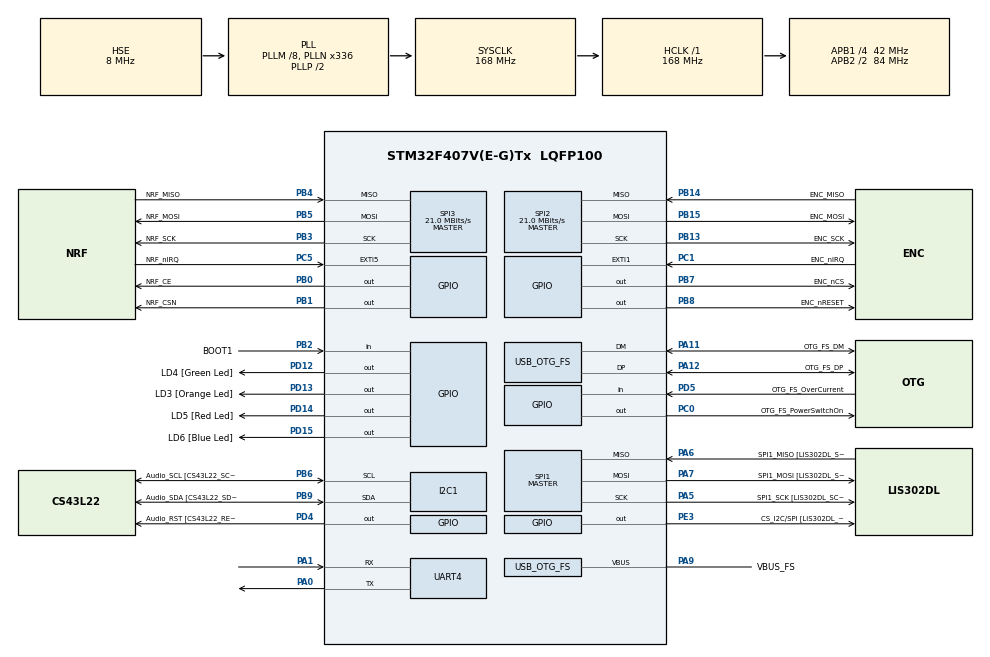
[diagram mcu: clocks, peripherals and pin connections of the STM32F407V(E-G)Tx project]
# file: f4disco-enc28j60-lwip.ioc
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Mcu.Family=STM32F4
Mcu.Name=STM32F407V(E-G)Tx
Mcu.Package=LQFP100
NVIC.EXTI1_IRQn=true\:0\:0\:false\:false\:true\:true
NVIC.OTG_FS_IRQn=true\:0\:0\:false\:false\:true\:true
NVIC.PriorityGroup=NVIC_PRIORITYGROUP_0
PA0-WKUP.Mode=Asynchronous
PA0-WKUP.Signal=UART4_TX
PA1.Mode=Asynchronous
PA1.Signal=UART4_RX
PA10.GPIO_Label=OTG_FS_ID
PA10.GPIO_Mode=GPIO_MODE_AF_PP
PA10.GPIO_PuPd=GPIO_NOPULL
PA10.GPIO_Speed=GPIO_SPEED_FREQ_LOW
PA10.Signal=USB_OTG_FS_ID
PA11.GPIO_Label=OTG_FS_DM
PA11.GPIO_Mode=GPIO_MODE_AF_PP
PA11.GPIO_PuPd=GPIO_NOPULL
PA11.GPIO_Speed=GPIO_SPEED_FREQ_LOW
PA11.Mode=Host_Only
PA11.Signal=USB_OTG_FS_DM
PA12.GPIO_Label=OTG_FS_DP
PA12.GPIO_Mode=GPIO_MODE_AF_PP
PA12.GPIO_PuPd=GPIO_NOPULL
PA12.GPIO_Speed=GPIO_SPEED_FREQ_LOW
PA12.Mode=Host_Only
PA12.Signal=USB_OTG_FS_DP
PA13.GPIO_Label=SWDIO
PA13.Mode=Serial_Wire
PA13.Signal=SYS_JTMS-SWDIO
PA14.GPIO_Label=SWCLK
PA14.Mode=Serial_Wire
PA14.Signal=SYS_JTCK-SWCLK
PA4.GPIO_Label=I2S3_WS [CS43L22_LRCK]
PA4.GPIO_Mode=GPIO_MODE_AF_PP
PA4.GPIO_PuPd=GPIO_NOPULL
PA4.GPIO_Speed=GPIO_SPEED_FREQ_LOW
PA4.Signal=I2S3_WS
PA5.GPIO_Label=SPI1_SCK [LIS302DL_SCL/SPC]
PA5.GPIO_Mode=GPIO_MODE_AF_PP
PA5.GPIO_PuPd=GPIO_NOPULL
PA5.GPIO_Speed=GPIO_SPEED_FREQ_LOW
PA5.Mode=Full_Duplex_Master
PA5.Signal=SPI1_SCK
PA6.GPIO_Label=SPI1_MISO [LIS302DL_SDO]
PA6.GPIO_Mode=GPIO_MODE_AF_PP
PA6.GPIO_PuPd=GPIO_NOPULL
PA6.GPIO_Speed=GPIO_SPEED_FREQ_LOW
PA6.Mode=Full_Duplex_Master
PA6.Signal=SPI1_MISO
PA7.GPIO_Label=SPI1_MOSI [LIS302DL_SDA/SDI/SDO]
PA7.GPIO_Mode=GPIO_MODE_AF_PP
PA7.GPIO_PuPd=GPIO_NOPULL
PA7.GPIO_Speed=GPIO_SPEED_FREQ_LOW
PA7.Mode=Full_Duplex_Master
PA7.Signal=SPI1_MOSI
PA9.GPIO_Label=VBUS_FS
PA9.GPIO_Mode=GPIO_MODE_INPUT
PA9.GPIO_PuPd=GPIO_NOPULL
PA9.Mode=Activate_VBUS
PA9.Signal=USB_OTG_FS_VBUS
PB0.GPIO_Label=NRF_CE
PB0.Signal=GPIO_Output
PB1.GPIO_Label=NRF_CSN
PB1.Signal=GPIO_Output
PB10.GPIO_Label=CLK_IN [MP45DT02_CLK]
PB10.GPIO_Mode=GPIO_MODE_AF_PP
PB10.GPIO_PuPd=GPIO_NOPULL
PB10.GPIO_Speed=GPIO_SPEED_FREQ_LOW
PB10.Signal=I2S2_CK
PB13.GPIO_Label=ENC_SCK
PB13.Mode=Full_Duplex_Master
PB13.Signal=SPI2_SCK
PB14.GPIO_Label=ENC_MISO
PB14.Mode=Full_Duplex_Master
PB14.Signal=SPI2_MISO
PB15.GPIO_Label=ENC_MOSI
PB15.Mode=Full_Duplex_Master
PB15.Signal=SPI2_MOSI
PB2.GPIO_Label=BOOT1
PB2.GPIO_Mode=GPIO_MODE_INPUT
PB2.GPIO_PuPd=GPIO_NOPULL
PB2.Signal=GPIO_Input
PB3.GPIO_Label=NRF_SCK
PB3.Mode=Full_Duplex_Master
PB3.Signal=SPI3_SCK
PB4.GPIO_Label=NRF_MISO
PB4.Mode=Full_Duplex_Master
PB4.Signal=SPI3_MISO
PB5.GPIO_Label=NRF_MOSI
PB5.Mode=Full_Duplex_Master
PB5.Signal=SPI3_MOSI
PB6.GPIO_Label=Audio_SCL [CS43L22_SCL]
PB6.GPIO_Mode=GPIO_MODE_AF_OD
PB6.GPIO_PuPd=GPIO_NOPULL
PB6.GPIO_Speed=GPIO_SPEED_FREQ_LOW
PB6.Mode=I2C
PB6.Signal=I2C1_SCL
PB7.GPIO_Label=ENC_nCS
PB7.Signal=GPIO_Output
PB8.GPIO_Label=ENC_nRESET
PB8.Signal=GPIO_Output
PB9.GPIO_Label=Audio_SDA [CS43L22_SDA]
PB9.GPIO_Mode=GPIO_MODE_AF_OD
PB9.GPIO_PuPd=GPIO_NOPULL
PB9.GPIO_Speed=GPIO_SPEED_FREQ_LOW
PB9.Mode=I2C
PB9.Signal=I2C1_SDA
PC0.GPIO_Label=OTG_FS_PowerSwitchOn
PC0.GPIO_PuPd=GPIO_NOPULL
PC0.GPIO_Speed=GPIO_SPEED_FREQ_LOW
PC0.PinState=GPIO_PIN_SET
PC0.Signal=GPIO_Output
PC1.GPIO_Label=ENC_nIRQ
PC1.GPIO_ModeDefaultEXTI=GPIO_MODE_IT_FALLING
PC1.GPIO_PuPd=GPIO_PULLUP
PC1.Signal=GPXTI1
PC14-OSC32_IN.GPIO_Label=PC14-OSC32_IN
PC14-OSC32_IN.Mode=LSE-External-Oscillator
PC14-OSC32_IN.Signal=RCC_OSC32_IN
PC15-OSC32_OUT.GPIO_Label=PC15-OSC32_OUT
PC15-OSC32_OUT.Mode=LSE-External-Oscillator
PC15-OSC32_OUT.Signal=RCC_OSC32_OUT
PC3.GPIO_Label=PDM_OUT [MP45DT02_DOUT]
PC3.GPIO_Mode=GPIO_MODE_AF_PP
PC3.GPIO_PuPd=GPIO_NOPULL
PC3.GPIO_Speed=GPIO_SPEED_FREQ_LOW
PC3.Signal=I2S2_SD
PC5.GPIO_Label=NRF_nIRQ
PC5.Signal=GPXTI5
PD12.GPIO_Label=LD4 [Green Led]
PD12.GPIO_PuPd=GPIO_NOPULL
PD12.GPIO_Speed=GPIO_SPEED_FREQ_LOW
PD12.Signal=GPIO_Output
PD13.GPIO_Label=LD3 [Orange Led]
PD13.GPIO_PuPd=GPIO_NOPULL
PD13.GPIO_Speed=GPIO_SPEED_FREQ_LOW
PD13.Signal=GPIO_Output
PD14.GPIO_Label=LD5 [Red Led]
PD14.GPIO_PuPd=GPIO_NOPULL
PD14.GPIO_Speed=GPIO_SPEED_FREQ_LOW
PD14.Signal=GPIO_Output
PD15.GPIO_Label=LD6 [Blue Led]
PD15.GPIO_PuPd=GPIO_NOPULL
PD15.GPIO_Speed=GPIO_SPEED_FREQ_LOW
PD15.Signal=GPIO_Output
PD4.GPIO_Label=Audio_RST [CS43L22_RESET]
PD4.GPIO_PuPd=GPIO_NOPULL
PD4.GPIO_Speed=GPIO_SPEED_FREQ_LOW
PD4.Signal=GPIO_Output
PD5.GPIO_Label=OTG_FS_OverCurrent
PD5.GPIO_Mode=GPIO_MODE_INPUT
PD5.GPIO_PuPd=GPIO_NOPULL
PD5.Signal=GPIO_Input
PE3.GPIO_Label=CS_I2C/SPI [LIS302DL_CS_I2C/SPI]
PE3.GPIO_PuPd=GPIO_NOPULL
PE3.GPIO_Speed=GPIO_SPEED_FREQ_LOW
PE3.Signal=GPIO_Output
PH0-OSC_IN.GPIO_Label=PH0-OSC_IN
PH0-OSC_IN.Mode=HSE-External-Oscillator
PH0-OSC_IN.Signal=RCC_OSC_IN
PH1-OSC_OUT.GPIO_Label=PH1-OSC_OUT
PH1-OSC_OUT.Mode=HSE-External-Oscillator
PH1-OSC_OUT.Signal=RCC_OSC_OUT
ProjectManager.HeapSize=0x200
ProjectManager.StackSize=0x400
ProjectManager.TargetToolchain=TrueSTUDIO
RCC.48MHZClocksFreq_Value=48000000
RCC.AHBFreq_Value=168000000
RCC.APB1CLKDivider=RCC_HCLK_DIV4
RCC.APB1Freq_Value=42000000
RCC.APB1TimFreq_Value=84000000
RCC.APB2CLKDivider=RCC_HCLK_DIV2
RCC.APB2Freq_Value=84000000
RCC.APB2TimFreq_Value=168000000
RCC.CortexFreq_Value=168000000
RCC.HCLKFreq_Value=168000000
RCC.HSE_VALUE=8000000
RCC.HSI_VALUE=16000000
RCC.PLLM=8
RCC.PLLN=336
RCC.PLLQ=7
RCC.SYSCLKFreq_VALUE=168000000
RCC.SYSCLKSource=RCC_SYSCLKSOURCE_PLLCLK
RCC.VCOOutputFreq_Value=336000000
SPI1.BaudRatePrescaler-Full_Duplex_Master=SPI_BAUDRATEPRESCALER_2
SPI1.CalculateBaudRate-Full_Duplex_Master=42.0 MBits/s
SPI1.Direction=SPI_DIRECTION_2LINES
SPI1.Mode=SPI_MODE_MASTER
SPI1.Mode-Full_Duplex_Master=SPI_MODE_MASTER
SPI1.VirtualType=VM_MASTER
SPI2.CalculateBaudRate=21.0 MBits/s
SPI2.Direction=SPI_DIRECTION_2LINES
SPI2.Mode=SPI_MODE_MASTER
SPI2.VirtualType=VM_MASTER
SPI3.CalculateBaudRate=21.0 MBits/s
SPI3.Direction=SPI_DIRECTION_2LINES
SPI3.Mode=SPI_MODE_MASTER
SPI3.VirtualType=VM_MASTER
UART4.VirtualMode=Asynchronous
USB_HOST.BSP.number=1
USB_HOST.USBH_HandleTypeDef-CDC_FS=hUsbHostFS
USB_HOST.VirtualModeFS=Cdc
USB_HOST0.BSP.STBoard=false
USB_HOST0.BSP.api=Unknown
USB_HOST0.BSP.i2caddr=0
USB_HOST0.BSP.i2creg=0
USB_HOST0.BSP.instance=PC0
USB_HOST0.BSP.ip=GPIO
USB_HOST0.BSP.mode=Output
USB_HOST0.BSP.name=Drive_VBUS_FS
USB_HOST0.BSP.solution=PC0
USB_OTG_FS.VirtualMode=Host_Only
USB_OTG_FS.phy_itface=HCD_PHY_EMBEDDED
VP_USB_HOST_VS_USB_HOST_CDC_FS.Mode=CDC_FS
board=STM32F4DISCOVERY

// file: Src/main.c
/**
  ******************************************************************************
  * @file           : main.c
  * @brief          : Main program body
  ******************************************************************************
  * This notice applies to any and all portions of this file
  * that are not between comment pairs USER CODE BEGIN and
  * USER CODE END. Other portions of this file, whether
  * inserted by the user or by software development tools
  * are owned by their respective copyright owners.
  *
  * Copyright (c) 2018 STMicroelectronics International N.V.
  * All rights reserved.
  *
  * Redistribution and use in source and binary forms, with or without
  * modification, are permitted, provided that the following conditions are met:
  *
  * 1. Redistribution of source code must retain the above copyright notice,
  *    this list of conditions and the following disclaimer.
  * 2. Redistributions in binary form must reproduce the above copyright notice,
  *    this list of conditions and the following disclaimer in the documentation
  *    and/or other materials provided with the distribution.
  * 3. Neither the name of STMicroelectronics nor the names of other
  *    contributors to this software may be used to endorse or promote products
  *    derived from this software without specific written permission.
  * 4. This software, including modifications and/or derivative works of this
  *    software, must execute solely and exclusively on microcontroller or
  *    microprocessor devices manufactured by or for STMicroelectronics.
  * 5. Redistribution and use of this software other than as permitted under
  *    this license is void and will automatically terminate your rights under
  *    this license.
  *
  * THIS SOFTWARE IS PROVIDED BY STMICROELECTRONICS AND CONTRIBUTORS "AS IS"
  * AND ANY EXPRESS, IMPLIED OR STATUTORY WARRANTIES, INCLUDING, BUT NOT
  * LIMITED TO, THE IMPLIED WARRANTIES OF MERCHANTABILITY, FITNESS FOR A
  * PARTICULAR PURPOSE AND NON-INFRINGEMENT OF THIRD PARTY INTELLECTUAL PROPERTY
  * RIGHTS ARE DISCLAIMED TO THE FULLEST EXTENT PERMITTED BY LAW. IN NO EVENT
  * SHALL STMICROELECTRONICS OR CONTRIBUTORS BE LIABLE FOR ANY DIRECT, INDIRECT,
  * INCIDENTAL, SPECIAL, EXEMPLARY, OR CONSEQUENTIAL DAMAGES (INCLUDING, BUT NOT
  * LIMITED TO, PROCUREMENT OF SUBSTITUTE GOODS OR SERVICES; LOSS OF USE, DATA,
  * OR PROFITS; OR BUSINESS INTERRUPTION) HOWEVER CAUSED AND ON ANY THEORY OF
  * LIABILITY, WHETHER IN CONTRACT, STRICT LIABILITY, OR TORT (INCLUDING
  * NEGLIGENCE OR OTHERWISE) ARISING IN ANY WAY OUT OF THE USE OF THIS SOFTWARE,
  * EVEN IF ADVISED OF THE POSSIBILITY OF SUCH DAMAGE.
  *
  ******************************************************************************
  */
#include "main.h"
#include "stm32f4xx_hal.h"
#include "usb_host.h"

/* USER CODE BEGIN Includes */

#include "lwipopts.h"
#include "lwip.h"
#include "lwip/init.h"
#include "lwip/netif.h"
#include "lwip/ip_addr.h"
#include "ethernetif.h"

/* USER CODE END Includes */

I2C_HandleTypeDef hi2c1;

SPI_HandleTypeDef hspi1;
SPI_HandleTypeDef hspi2;
SPI_HandleTypeDef hspi3;

UART_HandleTypeDef huart4;

/* USER CODE BEGIN PV */
/* Private variables ---------------------------------------------------------*/

struct netif gnetif;

/* USER CODE END PV */

void SystemClock_Config(void);
static void MX_GPIO_Init(void);
static void MX_I2C1_Init(void);
static void MX_SPI1_Init(void);
static void MX_SPI2_Init(void);
static void MX_SPI3_Init(void);
static void MX_UART4_Init(void);
void MX_USB_HOST_Process(void);

/* USER CODE BEGIN PFP */
/* Private function prototypes -----------------------------------------------*/

/* USER CODE END PFP */

/* USER CODE BEGIN 0 */

void netif_config()
{
	struct ip4_addr ipaddr;
	struct ip4_addr netmask;
	struct ip4_addr gw;

	IP4_ADDR(&ipaddr, 192, 168, 0, 50);
	IP4_ADDR(&netmask, 255, 255, 255, 252);
	IP4_ADDR(&gw, 192, 168, 1, 1);

	/* add the network interface */
	netif_add(&gnetif, &ipaddr, &netmask, &gw, NULL, &ethernetif_init, &ethernet_input);

	/*  Registers the default network interface */
	netif_set_default(&gnetif);

	if (netif_is_link_up(&gnetif))
	{
	/* When the netif is fully configured this function must be called */
	netif_set_up(&gnetif);
	}
	else
	{
	/* When the netif link is down this function must be called */
	netif_set_down(&gnetif);
	}

	/* Set the link callback function, this function is called on change of link status*/
//	netif_set_link_callback(&gnetif, ethernetif_update_config);
}

extern void ethernetif_set_link(struct netif *netif);

void HAL_GPIO_EXTI_Callback(uint16_t GPIO_Pin)
{
//  /* Get the IT status register value */
//  if(BSP_IO_ITGetStatus(MII_INT_PIN))
  if (GPIO_Pin == GPIO_PIN_1)
  {
    ethernetif_set_link(&gnetif);
  }
  //BSP_IO_ITClear();
}

/* USER CODE END 0 */

int main(void)
{

  /* MCU Configuration----------------------------------------------------------*/

  /* Reset of all peripherals, Initializes the Flash interface and the Systick. */
  HAL_Init();

  /* Configure the system clock */
  SystemClock_Config();

  /* Initialize all configured peripherals */
  MX_GPIO_Init();
  MX_I2C1_Init();
  MX_SPI1_Init();
  MX_USB_HOST_Init();
  MX_SPI2_Init();
  MX_SPI3_Init();
  MX_UART4_Init();
  /* USER CODE BEGIN 2 */

  MX_LWIP_Init();

//  lwip_init();
//  netif_config();

//  HAL_UART_Transmit(&huart4, (uint8_t*)"Hello, World!\r\n", 16, 1000);
  printf("Initialized\r\n");

  /* USER CODE END 2 */

  /* Infinite loop */
  /* USER CODE BEGIN WHILE */
  while (1)
  {
	  MX_LWIP_Process();

  /* USER CODE END WHILE */
    MX_USB_HOST_Process();

  }

}

void SystemClock_Config(void)
{

  RCC_OscInitTypeDef RCC_OscInitStruct;
  RCC_ClkInitTypeDef RCC_ClkInitStruct;

    /**Configure the main internal regulator output voltage
    */
  __HAL_RCC_PWR_CLK_ENABLE();

  __HAL_PWR_VOLTAGESCALING_CONFIG(PWR_REGULATOR_VOLTAGE_SCALE1);

    /**Initializes the CPU, AHB and APB busses clocks
    */
  RCC_OscInitStruct.OscillatorType = RCC_OSCILLATORTYPE_HSE;
  RCC_OscInitStruct.HSEState = RCC_HSE_ON;
  RCC_OscInitStruct.PLL.PLLState = RCC_PLL_ON;
  RCC_OscInitStruct.PLL.PLLSource = RCC_PLLSOURCE_HSE;
  RCC_OscInitStruct.PLL.PLLM = 8;
  RCC_OscInitStruct.PLL.PLLN = 336;
  RCC_OscInitStruct.PLL.PLLP = RCC_PLLP_DIV2;
  RCC_OscInitStruct.PLL.PLLQ = 7;
  if (HAL_RCC_OscConfig(&RCC_OscInitStruct) != HAL_OK)
  {
    _Error_Handler(__FILE__, __LINE__);
  }

    /**Initializes the CPU, AHB and APB busses clocks
    */
  RCC_ClkInitStruct.ClockType = RCC_CLOCKTYPE_HCLK|RCC_CLOCKTYPE_SYSCLK
                              |RCC_CLOCKTYPE_PCLK1|RCC_CLOCKTYPE_PCLK2;
  RCC_ClkInitStruct.SYSCLKSource = RCC_SYSCLKSOURCE_PLLCLK;
  RCC_ClkInitStruct.AHBCLKDivider = RCC_SYSCLK_DIV1;
  RCC_ClkInitStruct.APB1CLKDivider = RCC_HCLK_DIV4;
  RCC_ClkInitStruct.APB2CLKDivider = RCC_HCLK_DIV2;

  if (HAL_RCC_ClockConfig(&RCC_ClkInitStruct, FLASH_LATENCY_5) != HAL_OK)
  {
    _Error_Handler(__FILE__, __LINE__);
  }

    /**Configure the Systick interrupt time
    */
  HAL_SYSTICK_Config(HAL_RCC_GetHCLKFreq()/1000);

    /**Configure the Systick
    */
  HAL_SYSTICK_CLKSourceConfig(SYSTICK_CLKSOURCE_HCLK);

  /* SysTick_IRQn interrupt configuration */
  HAL_NVIC_SetPriority(SysTick_IRQn, 0, 0);
}

/* I2C1 init function */
static void MX_I2C1_Init(void)
{

  hi2c1.Instance = I2C1;
  hi2c1.Init.ClockSpeed = 100000;
  hi2c1.Init.DutyCycle = I2C_DUTYCYCLE_2;
  hi2c1.Init.OwnAddress1 = 0;
  hi2c1.Init.AddressingMode = I2C_ADDRESSINGMODE_7BIT;
  hi2c1.Init.DualAddressMode = I2C_DUALADDRESS_DISABLE;
  hi2c1.Init.OwnAddress2 = 0;
  hi2c1.Init.GeneralCallMode = I2C_GENERALCALL_DISABLE;
  hi2c1.Init.NoStretchMode = I2C_NOSTRETCH_DISABLE;
  if (HAL_I2C_Init(&hi2c1) != HAL_OK)
  {
    _Error_Handler(__FILE__, __LINE__);
  }

}

/* SPI1 init function */
static void MX_SPI1_Init(void)
{

  /* SPI1 parameter configuration*/
  hspi1.Instance = SPI1;
  hspi1.Init.Mode = SPI_MODE_MASTER;
  hspi1.Init.Direction = SPI_DIRECTION_2LINES;
  hspi1.Init.DataSize = SPI_DATASIZE_8BIT;
  hspi1.Init.CLKPolarity = SPI_POLARITY_LOW;
  hspi1.Init.CLKPhase = SPI_PHASE_1EDGE;
  hspi1.Init.NSS = SPI_NSS_SOFT;
  hspi1.Init.BaudRatePrescaler = SPI_BAUDRATEPRESCALER_2;
  hspi1.Init.FirstBit = SPI_FIRSTBIT_MSB;
  hspi1.Init.TIMode = SPI_TIMODE_DISABLE;
  hspi1.Init.CRCCalculation = SPI_CRCCALCULATION_DISABLE;
  hspi1.Init.CRCPolynomial = 10;
  if (HAL_SPI_Init(&hspi1) != HAL_OK)
  {
    _Error_Handler(__FILE__, __LINE__);
  }

}

/* SPI2 init function */
static void MX_SPI2_Init(void)
{

  /* SPI2 parameter configuration*/
  hspi2.Instance = SPI2;
  hspi2.Init.Mode = SPI_MODE_MASTER;
  hspi2.Init.Direction = SPI_DIRECTION_2LINES;
  hspi2.Init.DataSize = SPI_DATASIZE_8BIT;
  hspi2.Init.CLKPolarity = SPI_POLARITY_LOW;
  hspi2.Init.CLKPhase = SPI_PHASE_1EDGE;
  hspi2.Init.NSS = SPI_NSS_SOFT;
  hspi2.Init.BaudRatePrescaler = SPI_BAUDRATEPRESCALER_2;
  hspi2.Init.FirstBit = SPI_FIRSTBIT_MSB;
  hspi2.Init.TIMode = SPI_TIMODE_DISABLE;
  hspi2.Init.CRCCalculation = SPI_CRCCALCULATION_DISABLE;
  hspi2.Init.CRCPolynomial = 10;
  if (HAL_SPI_Init(&hspi2) != HAL_OK)
  {
    _Error_Handler(__FILE__, __LINE__);
  }

}

/* SPI3 init function */
static void MX_SPI3_Init(void)
{

  /* SPI3 parameter configuration*/
  hspi3.Instance = SPI3;
  hspi3.Init.Mode = SPI_MODE_MASTER;
  hspi3.Init.Direction = SPI_DIRECTION_2LINES;
  hspi3.Init.DataSize = SPI_DATASIZE_8BIT;
  hspi3.Init.CLKPolarity = SPI_POLARITY_LOW;
  hspi3.Init.CLKPhase = SPI_PHASE_1EDGE;
  hspi3.Init.NSS = SPI_NSS_SOFT;
  hspi3.Init.BaudRatePrescaler = SPI_BAUDRATEPRESCALER_2;
  hspi3.Init.FirstBit = SPI_FIRSTBIT_MSB;
  hspi3.Init.TIMode = SPI_TIMODE_DISABLE;
  hspi3.Init.CRCCalculation = SPI_CRCCALCULATION_DISABLE;
  hspi3.Init.CRCPolynomial = 10;
  if (HAL_SPI_Init(&hspi3) != HAL_OK)
  {
    _Error_Handler(__FILE__, __LINE__);
  }

}

/* UART4 init function */
static void MX_UART4_Init(void)
{

  huart4.Instance = UART4;
  huart4.Init.BaudRate = 115200;
  huart4.Init.WordLength = UART_WORDLENGTH_8B;
  huart4.Init.StopBits = UART_STOPBITS_1;
  huart4.Init.Parity = UART_PARITY_NONE;
  huart4.Init.Mode = UART_MODE_TX_RX;
  huart4.Init.HwFlowCtl = UART_HWCONTROL_NONE;
  huart4.Init.OverSampling = UART_OVERSAMPLING_16;
  if (HAL_UART_Init(&huart4) != HAL_OK)
  {
    _Error_Handler(__FILE__, __LINE__);
  }

}

/** Configure pins as
        * Analog
        * Input
        * Output
        * EVENT_OUT
        * EXTI
     PC3   ------> I2S2_SD
     PA4   ------> I2S3_WS
     PB10   ------> I2S2_CK
*/
static void MX_GPIO_Init(void)
{

  GPIO_InitTypeDef GPIO_InitStruct;

  /* GPIO Ports Clock Enable */
  __HAL_RCC_GPIOE_CLK_ENABLE();
  __HAL_RCC_GPIOC_CLK_ENABLE();
  __HAL_RCC_GPIOH_CLK_ENABLE();
  __HAL_RCC_GPIOA_CLK_ENABLE();
  __HAL_RCC_GPIOB_CLK_ENABLE();
  __HAL_RCC_GPIOD_CLK_ENABLE();

  /*Configure GPIO pin Output Level */
  HAL_GPIO_WritePin(CS_I2C_SPI_GPIO_Port, CS_I2C_SPI_Pin, GPIO_PIN_RESET);

  /*Configure GPIO pin Output Level */
  HAL_GPIO_WritePin(OTG_FS_PowerSwitchOn_GPIO_Port, OTG_FS_PowerSwitchOn_Pin, GPIO_PIN_SET);

  /*Configure GPIO pin Output Level */
  HAL_GPIO_WritePin(GPIOB, NRF_CE_Pin|NRF_CSN_Pin|ENC_nCS_Pin|ENC_nRESET_Pin, GPIO_PIN_RESET);

  /*Configure GPIO pin Output Level */
  HAL_GPIO_WritePin(GPIOD, LD4_Pin|LD3_Pin|LD5_Pin|LD6_Pin
                          |Audio_RST_Pin, GPIO_PIN_RESET);

  /*Configure GPIO pin : CS_I2C_SPI_Pin */
  GPIO_InitStruct.Pin = CS_I2C_SPI_Pin;
  GPIO_InitStruct.Mode = GPIO_MODE_OUTPUT_PP;
  GPIO_InitStruct.Pull = GPIO_NOPULL;
  GPIO_InitStruct.Speed = GPIO_SPEED_FREQ_LOW;
  HAL_GPIO_Init(CS_I2C_SPI_GPIO_Port, &GPIO_InitStruct);

  /*Configure GPIO pin : OTG_FS_PowerSwitchOn_Pin */
  GPIO_InitStruct.Pin = OTG_FS_PowerSwitchOn_Pin;
  GPIO_InitStruct.Mode = GPIO_MODE_OUTPUT_PP;
  GPIO_InitStruct.Pull = GPIO_NOPULL;
  GPIO_InitStruct.Speed = GPIO_SPEED_FREQ_LOW;
  HAL_GPIO_Init(OTG_FS_PowerSwitchOn_GPIO_Port, &GPIO_InitStruct);

  /*Configure GPIO pin : ENC_nIRQ_Pin */
  GPIO_InitStruct.Pin = ENC_nIRQ_Pin;
  GPIO_InitStruct.Mode = GPIO_MODE_IT_FALLING;
  GPIO_InitStruct.Pull = GPIO_PULLUP;
  HAL_GPIO_Init(ENC_nIRQ_GPIO_Port, &GPIO_InitStruct);

  /*Configure GPIO pin : PDM_OUT_Pin */
  GPIO_InitStruct.Pin = PDM_OUT_Pin;
  GPIO_InitStruct.Mode = GPIO_MODE_AF_PP;
  GPIO_InitStruct.Pull = GPIO_NOPULL;
  GPIO_InitStruct.Speed = GPIO_SPEED_FREQ_LOW;
  GPIO_InitStruct.Alternate = GPIO_AF5_SPI2;
  HAL_GPIO_Init(PDM_OUT_GPIO_Port, &GPIO_InitStruct);

  /*Configure GPIO pin : I2S3_WS_Pin */
  GPIO_InitStruct.Pin = I2S3_WS_Pin;
  GPIO_InitStruct.Mode = GPIO_MODE_AF_PP;
  GPIO_InitStruct.Pull = GPIO_NOPULL;
  GPIO_InitStruct.Speed = GPIO_SPEED_FREQ_LOW;
  GPIO_InitStruct.Alternate = GPIO_AF6_SPI3;
  HAL_GPIO_Init(I2S3_WS_GPIO_Port, &GPIO_InitStruct);

  /*Configure GPIO pin : NRF_nIRQ_Pin */
  GPIO_InitStruct.Pin = NRF_nIRQ_Pin;
  GPIO_InitStruct.Mode = GPIO_MODE_IT_RISING;
  GPIO_InitStruct.Pull = GPIO_NOPULL;
  HAL_GPIO_Init(NRF_nIRQ_GPIO_Port, &GPIO_InitStruct);

  /*Configure GPIO pins : NRF_CE_Pin NRF_CSN_Pin ENC_nCS_Pin ENC_nRESET_Pin */
  GPIO_InitStruct.Pin = NRF_CE_Pin|NRF_CSN_Pin|ENC_nCS_Pin|ENC_nRESET_Pin;
  GPIO_InitStruct.Mode = GPIO_MODE_OUTPUT_PP;
  GPIO_InitStruct.Pull = GPIO_NOPULL;
  GPIO_InitStruct.Speed = GPIO_SPEED_FREQ_LOW;
  HAL_GPIO_Init(GPIOB, &GPIO_InitStruct);

  /*Configure GPIO pin : BOOT1_Pin */
  GPIO_InitStruct.Pin = BOOT1_Pin;
  GPIO_InitStruct.Mode = GPIO_MODE_INPUT;
  GPIO_InitStruct.Pull = GPIO_NOPULL;
  HAL_GPIO_Init(BOOT1_GPIO_Port, &GPIO_InitStruct);

  /*Configure GPIO pin : CLK_IN_Pin */
  GPIO_InitStruct.Pin = CLK_IN_Pin;
  GPIO_InitStruct.Mode = GPIO_MODE_AF_PP;
  GPIO_InitStruct.Pull = GPIO_NOPULL;
  GPIO_InitStruct.Speed = GPIO_SPEED_FREQ_LOW;
  GPIO_InitStruct.Alternate = GPIO_AF5_SPI2;
  HAL_GPIO_Init(CLK_IN_GPIO_Port, &GPIO_InitStruct);

  /*Configure GPIO pins : LD4_Pin LD3_Pin LD5_Pin LD6_Pin
                           Audio_RST_Pin */
  GPIO_InitStruct.Pin = LD4_Pin|LD3_Pin|LD5_Pin|LD6_Pin
                          |Audio_RST_Pin;
  GPIO_InitStruct.Mode = GPIO_MODE_OUTPUT_PP;
  GPIO_InitStruct.Pull = GPIO_NOPULL;
  GPIO_InitStruct.Speed = GPIO_SPEED_FREQ_LOW;
  HAL_GPIO_Init(GPIOD, &GPIO_InitStruct);

  /*Configure GPIO pin : OTG_FS_OverCurrent_Pin */
  GPIO_InitStruct.Pin = OTG_FS_OverCurrent_Pin;
  GPIO_InitStruct.Mode = GPIO_MODE_INPUT;
  GPIO_InitStruct.Pull = GPIO_NOPULL;
  HAL_GPIO_Init(OTG_FS_OverCurrent_GPIO_Port, &GPIO_InitStruct);

  /* EXTI interrupt init*/
  HAL_NVIC_SetPriority(EXTI1_IRQn, 0, 0);
  HAL_NVIC_EnableIRQ(EXTI1_IRQn);

}

void _Error_Handler(char *file, int line)
{
  while(1)
  {
  }
}

/************************ (C) COPYRIGHT STMicroelectronics *****END OF FILE****/
